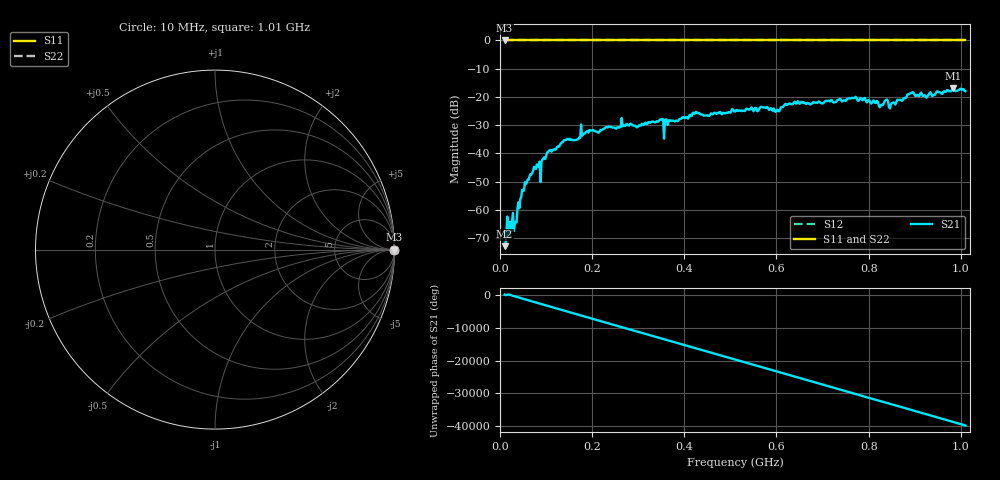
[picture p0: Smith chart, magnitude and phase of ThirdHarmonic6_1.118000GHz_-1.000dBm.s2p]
! 8/16/2025 10:43:40 AM
! C:\ANRITSUVNA\TEMP\TEMP.S2P
! CHANNEL.1
! TR.MEASUREMENT
! RAW.DATA
! RF.CORRECTION.OFF
! AVERAGING.OFF
! IF.BANDWIDTH: 5KHZ
! SWEEPTYPE:  FREQ.SWEEP(Linear)
! Reference Plane Port Info
! PORT:  PORT1  PORT2
! DISTANCE:  0  m  0  m
! TIME:  0  s  0  s
! PHASE.OFFSET:  0  deg.  0  deg.
! LOSS:  0  dB  0  dB
! REF.LOSS:  0  dB  0  dB
! REF.FREQ:  0  Hz  0  Hz
! Power Info
! POWER:  -20  dBm  -20  dBm
! EFF.POWER:  -20  dBm  -20  dBm
! SOURCE.ATTEN:  0  dB  0  dB
! TEST.ATTEN:  0  dB  0  dB
# GHZ S RI R 50.0
! FREQ.GHZ  S11RE  S11IM  S21RE  S21IM  S12RE  S12IM  S22RE  S22IM
!; PortSelection: Port_12
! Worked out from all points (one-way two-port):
!   501 points, 10 MHz to 1.01 GHz, reference 50 ohm
!   highest |S21| = -16.98 dB at 984 MHz (marker M1); lowest = -72.8 dB at 10 MHz (marker M2)
!   lowest |S11| = 0.0 dB at 10 MHz (marker M3)
!   |S11| at or under -10 dB: nowhere
!   |S22| runs from 0.0 to 0.0 dB; largest |S21 - S12| = 1.1
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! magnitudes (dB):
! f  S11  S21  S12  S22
! 10 MHz  0.0  -72.8  0.0  0.0
! 18 MHz  0.0  -69.0  0.0  0.0
! 34 MHz  0.0  -64.3  0.0  0.0
! 52 MHz  0.0  -53.2  0.0  0.0
! 76 MHz  0.0  -45.1  0.0  0.0
! 88 MHz  0.0  -50.2  0.0  0.0
! 106 MHz  0.0  -39.1  0.0  0.0
! 178 MHz  0.0  -33.7  0.0  0.0
! 344 MHz  0.0  -28.6  0.0  0.0
! 360 MHz  0.0  -27.9  0.0  0.0
! 422 MHz  0.0  -26.1  0.0  0.0
! 510 MHz  0.0  -25.2  0.0  0.0
! 570 MHz  0.0  -23.6  0.0  0.0
! 602 MHz  0.0  -24.6  0.0  0.0
! 622 MHz  0.0  -22.8  0.0  0.0
! 678 MHz  0.0  -22.3  0.0  0.0
! 768 MHz  0.0  -20.5  0.0  0.0
! 844 MHz  0.0  -23.4  0.0  0.0
! 894 MHz  0.0  -18.5  0.0  0.0
! 924 MHz  0.0  -20.1  0.0  0.0
! 984 MHz  0.0  -17.0  0.0  0.0
! 1.01 GHz  0.0  -18.0  0.0  0.0
